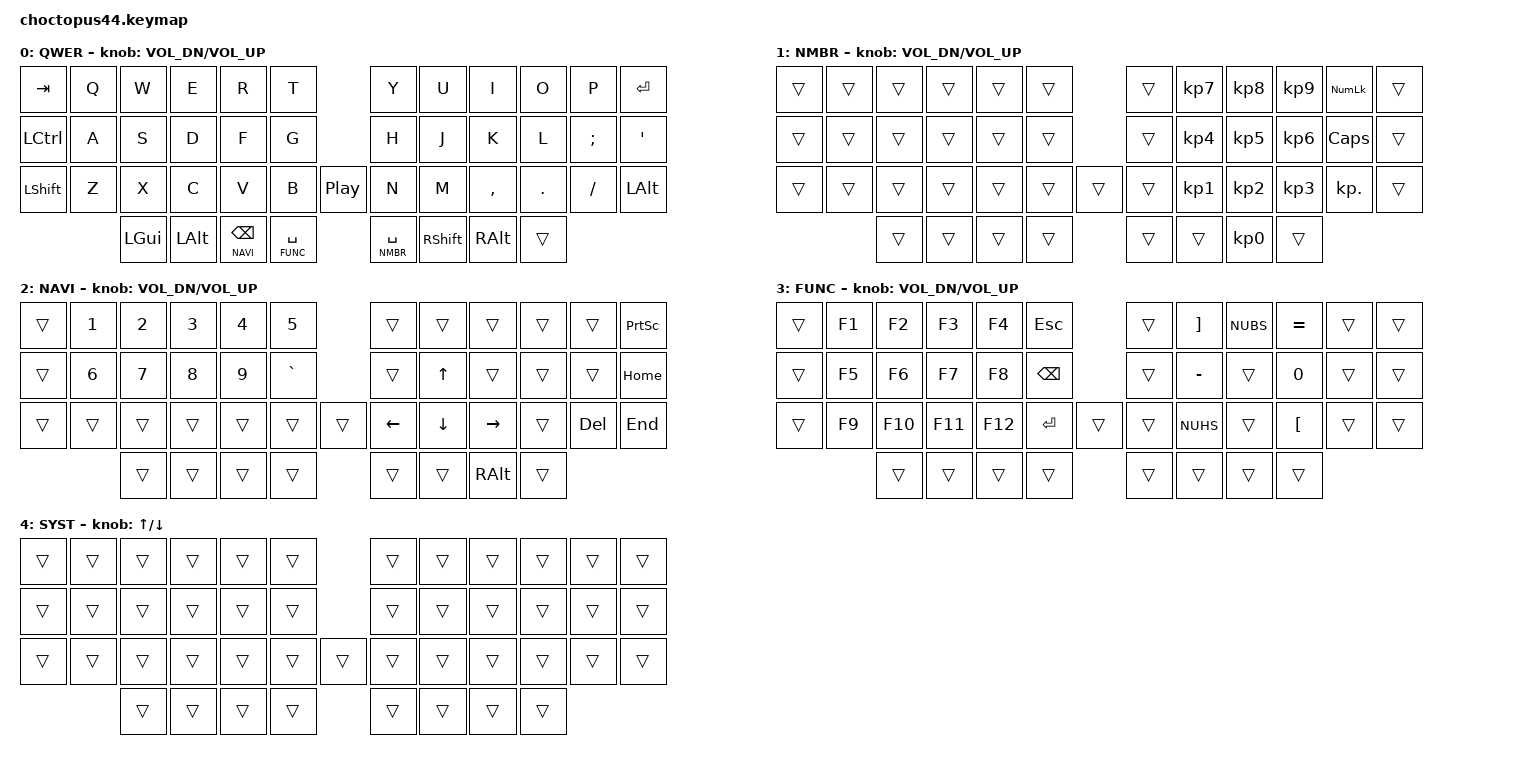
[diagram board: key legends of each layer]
/*
 * Copyright (c) 2021 The ZMK Contributors
 *
 * SPDX-License-Identifier: MIT
 */

#include <behaviors.dtsi>
#include <dt-bindings/zmk/keys.h>
#include <dt-bindings/zmk/bt.h>
#include <dt-bindings/zmk/rgb.h>

/* userspace modules */
#include "resources/keypos_44keys.h"
#include "resources/z_combo.h"       // Z_COMBO
#include "resources/z_behavior.h"    // Z_HOLDTAP

/* layer aliases */
#define QWER 0
#define NMBR 1
#define NAVI 2
#define FUNC 3
#define SYST 4

/* variables */
#define _TIME_ZERO  0
#define _QUIKTAP_MS 250
#define _TAPTERM_MS 200
#define _PRIOR_IDLE 250
#define _COMBO_SHRT 20
#define _COMBO_MEDM 30
#define _COMBO_LONG 50

/* miscellaneous */
#undef Z_ALL
#define Z_ALL       QWER NMBR NAVI FUNC SYST
#define _NUMBERS    N0 N1 N2 N3 N4 N5 N6 N7 N8 N9
#define _NUMPAD     KP_N0 KP_N1 KP_N2 KP_N3 KP_N4 KP_N5 KP_N6 KP_N7 KP_N8 KP_N9 KP_DOT KP_EQUAL KP_DIVIDE KP_MULTIPLY KP_MINUS KP_ENTER


/* adjustments */
&mt {
    quick_tap_ms = <_QUIKTAP_MS>;
    tapping_term_ms = <_TAPTERM_MS>;
    flavor = "hold-preferred";  //originally balanced
    retro-tap;                  //enabling retro-tap
};

&lt {
    quick_tap_ms = <_QUIKTAP_MS>;
    tapping_term_ms = <_TAPTERM_MS>;
    flavor = "balanced";
    retro-tap;                  //enabling retro-tap
};


/* autoshift */
#define AS(keycode) &z_autoshift LS(keycode) keycode

ZMK_BEHAVIOR(z_autoshift, hold_tap,
    flavor = "tap-preferred";
    quick-tap-ms = <_QUIKTAP_MS>;
    tapping-term-ms = <_TAPTERM_MS>;
    bindings = <&kp>, <&kp>;
)


/* combos, uses z_combo.h */
// syntax: Z_COMBO(name, combo_bindings, keypos, combo_timeout, combo_prioridle, combo_layers)
Z_COMBO(combo_esc,          AS(ESC),        LT5 LT4,         _COMBO_MEDM, _TIME_ZERO,  Z_ALL)
Z_COMBO(combo_backslash,    AS(BSLH),       LB5 LB4,         _COMBO_MEDM, _PRIOR_IDLE, Z_ALL)
Z_COMBO(combo_grave,        AS(GRAVE),      LH2 LH1,         _COMBO_MEDM, _PRIOR_IDLE, Z_ALL)

Z_COMBO(combo_copy,         &kp LC(INS),    LB4 LB3 LB2,     _COMBO_MEDM, _PRIOR_IDLE, Z_ALL)
Z_COMBO(combo_paste,        &kp LS(INS),    LB3 LB2 LB1,     _COMBO_MEDM, _PRIOR_IDLE, Z_ALL)

Z_COMBO(combo_lctrl,        &sk LCTRL,      LM1 LM2,         _COMBO_SHRT, _PRIOR_IDLE, QWER)
Z_COMBO(combo_rctrl,        &sk LCTRL,      RM1 RM2,         _COMBO_SHRT, _PRIOR_IDLE, QWER)
Z_COMBO(combo_lctrlshift,   &sk LS(LCTRL),  LM1 LM2 LM3,     _COMBO_SHRT, _PRIOR_IDLE, QWER)
Z_COMBO(combo_rctrlshift,   &sk LS(LCTRL),  RM1 RM2 RM3,     _COMBO_SHRT, _PRIOR_IDLE, QWER)

Z_COMBO(combo_locknum0,     &kp KP_NLCK,    RM5 RT5,         _COMBO_MEDM, _PRIOR_IDLE, QWER)
Z_COMBO(combo_lockcaps,     &kp CLCK,       RM5 RB5,         _COMBO_MEDM, _PRIOR_IDLE, QWER)
Z_COMBO(combo_lockscrl,     &kp SLCK,       RT5 RB5,         _COMBO_MEDM, _PRIOR_IDLE, QWER)

Z_COMBO(combo_bltthclr,     &bt BT_CLR,     RT0 RB0,         _COMBO_SHRT, _PRIOR_IDLE, QWER)
Z_COMBO(combo_bltth1,       &bt BT_SEL 0,   RT4 RB4,         _COMBO_SHRT, _PRIOR_IDLE, QWER)
Z_COMBO(combo_bltth2,       &bt BT_SEL 1,   RT3 RB3,         _COMBO_SHRT, _PRIOR_IDLE, QWER)
Z_COMBO(combo_bltth3,       &bt BT_SEL 2,   RT2 RB2,         _COMBO_SHRT, _PRIOR_IDLE, QWER)
Z_COMBO(combo_bltth4,       &bt BT_SEL 3,   RT1 RB1,         _COMBO_SHRT, _PRIOR_IDLE, QWER)

Z_COMBO(combo_reset,        &bootloader,    RT0 RM0 RB0,     _COMBO_SHRT, _PRIOR_IDLE, QWER)


/ {
        keymap {
                compatible = "zmk,keymap";

                qwerty_layer {
                        label = "QWER";
                        sensor-bindings = <&inc_dec_kp C_VOL_DN C_VOL_UP>;
                        bindings = <
// ╭───────────────┬───────────────┬───────────────┬───────────────┬───────────────┬───────────────╮               ╭───────────────┬───────────────┬───────────────┬───────────────┬───────────────┬───────────────╮
        &kp TAB         &kp Q           &kp W           &kp E           &kp R           &kp T                           &kp Y           &kp U           &kp I           &kp O           &kp P           &kp RET
// ├───────────────┼───────────────┼───────────────┼───────────────┼───────────────┼───────────────┤               ├───────────────┼───────────────┼───────────────┼───────────────┼───────────────┼───────────────┤
        &kp LCTRL       &kp A           &kp S           &kp D           &kp F           &kp G                           &kp H           &kp J           &kp K           &kp L           &kp SEMI        &kp APOS
// ├───────────────┼───────────────┼───────────────┼───────────────┼───────────────┼───────────────┼───────────────┼───────────────┼───────────────┼───────────────┼───────────────┼───────────────┼───────────────┤
        &kp LSHFT       &kp Z           &kp X           &kp C           &kp V           &kp B           &kp C_PP          &kp N           &kp M           &kp COMMA       &kp DOT         &kp FSLH        &kp LALT
// ╰───────────────┴───────────────┴───────────────┼───────────────┼───────────────┼───────────────┼───────────────┼───────────────┼───────────────┼───────────────┼───────────────┴───────────────┴───────────────╯
                                        &kp LGUI        &kp LALT     &lt NAVI BSPC   &lt FUNC SPACE                  &lt NMBR SPACE     &kp RSHFT       &kp RALT        &trans
//                                 ╰───────────────┴───────────────┴───────────────┴───────────────╯               ╰───────────────┴───────────────┴───────────────┴───────────────╯
                        >;
                };

                number_layer {
                        label = "NMBR";
                        sensor-bindings = <&inc_dec_kp C_VOL_DN C_VOL_UP>;
                        bindings = <
// ╭───────────────┬───────────────┬───────────────┬───────────────┬───────────────┬───────────────╮               ╭───────────────┬───────────────┬───────────────┬───────────────┬───────────────┬───────────────╮
        &trans          &trans          &trans          &trans          &trans          &trans                          &trans       &kp KP_N7       &kp KP_N8       &kp KP_N9     &kp KP_NLCK          &trans
// ├───────────────┼───────────────┼───────────────┼───────────────┼───────────────┼───────────────┤               ├───────────────┼───────────────┼───────────────┼───────────────┼───────────────┼───────────────┤
        &trans          &trans          &trans          &trans          &trans          &trans                          &trans       &kp KP_N4       &kp KP_N5       &kp KP_N6        &kp CLCK          &trans
// ├───────────────┼───────────────┼───────────────┼───────────────┼───────────────┼───────────────┼───────────────┼───────────────┼───────────────┼───────────────┼───────────────┼───────────────┼───────────────┤
        &trans          &trans          &trans          &trans          &trans          &trans          &trans          &trans       &kp KP_N1       &kp KP_N2       &kp KP_N3      &kp KP_DOT          &trans
// ╰───────────────┴───────────────┴───────────────┼───────────────┼───────────────┼───────────────┼───────────────┼───────────────┼───────────────┼───────────────┼───────────────┴───────────────┴───────────────╯
                                        &trans          &trans          &trans          &trans                          &trans          &trans          &kp KP_N0       &trans
//                                 ╰───────────────┴───────────────┴───────────────┴───────────────╯               ╰───────────────┴───────────────┴───────────────┴───────────────╯
                        >;
                };

                navgtn_layer {
                        label = "NAVI";
                        sensor-bindings = <&inc_dec_kp C_VOL_DN C_VOL_UP>;
                        bindings = <
// ╭───────────────┬───────────────┬───────────────┬───────────────┬───────────────┬───────────────╮               ╭───────────────┬───────────────┬───────────────┬───────────────┬───────────────┬───────────────╮
        &trans          &kp N1          &kp N2          &kp N3          &kp N4          &kp N5                          &trans          &trans          &trans          &trans          &trans          &kp PSCRN
// ├───────────────┼───────────────┼───────────────┼───────────────┼───────────────┼───────────────┤               ├───────────────┼───────────────┼───────────────┼───────────────┼───────────────┼───────────────┤
        &trans          &kp N6          &kp N7          &kp N8          &kp N9          &kp GRAVE                       &trans          &kp UP          &trans          &trans          &trans          &kp HOME
// ├───────────────┼───────────────┼───────────────┼───────────────┼───────────────┼───────────────┼───────────────┼───────────────┼───────────────┼───────────────┼───────────────┼───────────────┼───────────────┤
        &trans          &trans          &trans          &trans          &trans          &trans          &trans          &kp LEFT        &kp DOWN        &kp RIGHT       &trans          &kp DEL         &kp END
// ╰───────────────┴───────────────┴───────────────┼───────────────┼───────────────┼───────────────┼───────────────┼───────────────┼───────────────┼───────────────┼───────────────┴───────────────┴───────────────╯
                                        &trans          &trans          &trans          &trans                          &trans          &trans          &kp RALT        &trans
//                                 ╰───────────────┴───────────────┴───────────────┴───────────────╯               ╰───────────────┴───────────────┴───────────────┴───────────────╯
                        >;
                };

                functn_layer {
                        label = "FUNC";
                        sensor-bindings = <&inc_dec_kp C_VOL_DN C_VOL_UP>;
                        bindings = <
// ╭───────────────┬───────────────┬───────────────┬───────────────┬───────────────┬───────────────╮               ╭───────────────┬───────────────┬───────────────┬───────────────┬───────────────┬───────────────╮
        &trans          &kp F1          &kp F2          &kp F3          &kp F4          &kp ESC                         &trans          &kp RBKT        &kp NUBS        &kp EQUAL       &trans          &trans
// ├───────────────┼───────────────┼───────────────┼───────────────┼───────────────┼───────────────┤               ├───────────────┼───────────────┼───────────────┼───────────────┼───────────────┼───────────────┤
        &trans          &kp F5          &kp F6          &kp F7          &kp F8          &kp BSPC                        &trans          &kp MINUS       &trans          &kp N0          &trans          &trans
// ├───────────────┼───────────────┼───────────────┼───────────────┼───────────────┼───────────────┼───────────────┼───────────────┼───────────────┼───────────────┼───────────────┼───────────────┼───────────────┤
        &trans          &kp F9          &kp F10         &kp F11         &kp F12         &kp RET         &trans          &trans          &kp NUHS        &trans          &kp LBKT        &trans          &trans
// ╰───────────────┴───────────────┴───────────────┼───────────────┼───────────────┼───────────────┼───────────────┼───────────────┼───────────────┼───────────────┼───────────────┴───────────────┴───────────────╯
                                        &trans          &trans          &trans          &trans                          &trans          &trans          &trans          &trans
//                                 ╰───────────────┴───────────────┴───────────────┴───────────────╯               ╰───────────────┴───────────────┴───────────────┴───────────────╯
                        >;
                };

                system_layer {
                        label = "SYST";
                        sensor-bindings = <&inc_dec_kp UP DOWN>;
                        bindings = <
// ╭───────────────┬───────────────┬───────────────┬───────────────┬───────────────┬───────────────╮               ╭───────────────┬───────────────┬───────────────┬───────────────┬───────────────┬───────────────╮
        &trans          &trans          &trans          &trans          &trans          &trans                          &trans          &trans          &trans          &trans          &trans          &trans     
// ├───────────────┼───────────────┼───────────────┼───────────────┼───────────────┼───────────────┤               ├───────────────┼───────────────┼───────────────┼───────────────┼───────────────┼───────────────┤
        &trans          &trans          &trans          &trans          &trans          &trans                          &trans          &trans          &trans          &trans          &trans          &trans     
// ├───────────────┼───────────────┼───────────────┼───────────────┼───────────────┼───────────────┼───────────────┼───────────────┼───────────────┼───────────────┼───────────────┼───────────────┼───────────────┤
        &trans          &trans          &trans          &trans          &trans          &trans          &trans          &trans          &trans          &trans          &trans          &trans          &trans     
// ╰───────────────┴───────────────┴───────────────┼───────────────┼───────────────┼───────────────┼───────────────┼───────────────┼───────────────┼───────────────┼───────────────┴───────────────┴───────────────╯
                                        &trans          &trans          &trans          &trans                          &trans          &trans          &trans          &trans
//                                 ╰───────────────┴───────────────┴───────────────┴───────────────╯               ╰───────────────┴───────────────┴───────────────┴───────────────╯
                        >;
                };
        };
};
